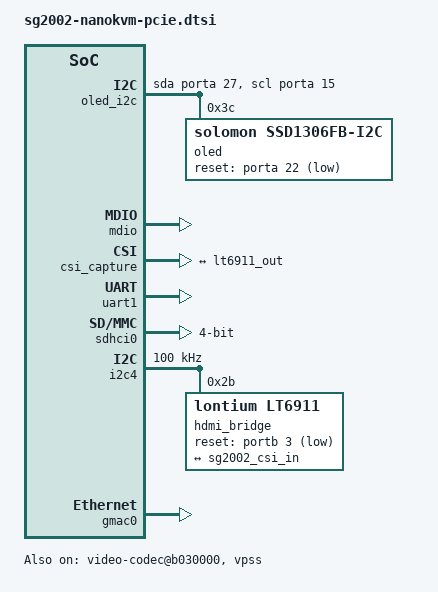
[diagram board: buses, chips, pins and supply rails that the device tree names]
/* NanoKVM-PCIe carrier overlay (mainline).
 *
 * The SG2002 has an on-die GMAC (snps,dwmac-3.70a) at 0x4070000 with an
 * internal 10/100 EPHY reached through the mmioreg mdio-mux. The
 * upstream cv180x.dtsi defines both but leaves them `status =
 * "disabled"` (the LicheeRV-Nano dev board has no ethernet). The
 * NanoKVM-PCIe carrier wires the GMAC to the RJ45, so enable them.
 *
 * Layered on top of sg2002-licheerv-nano-bw.dtsi, which already keeps
 * SDIO1 (AIC8800 WiFi) enabled — so this DTB carries both ethernet,
 * WiFi and the front-panel OLED for the PCIe board.
 */

/*
 * The standalone DTB builder uses an unpatched Linux source tarball. Keep
 * these fallbacks until its cv18xx-reset.h contains the named CSI PHY IDs.
 */
#ifndef RST_CSI_PHY0
#define RST_CSI_PHY0 70
#endif
#ifndef RST_CSI_PHY0_APB
#define RST_CSI_PHY0_APB 71
#endif

&mdio {
	status = "okay";
};

/*
 * The standalone DTB builder intentionally starts from the pristine Linux
 * source tarball, whereas the kernel applies the local SG2002 patch queue.
 * Keep the enabled bring-up instance here for the PCIe carrier; the matching
 * upstream-shaped SoC description in the kernel source remains disabled.
 */
/*
 * Deterministic DMA carveout for the 1080p capture+encode pipeline.
 * Measured simultaneous worst case (live-1080p CSI capture + Coda980
 * encode, two reconstruction buffers) is ~38 MiB:
 *   CSI:      2 x 4.15 MiB frames + 4.15 MiB scratch
 *   Coda980:  3.13 MiB NV21 staging, 3.2 MiB slice buffer,
 *             2 x 3.13 MiB reconstruction, bitstream + firmware arena
 * The pool is deliberately NOT `reusable`: a reusable region registers as
 * CMA, which the page allocator fills with movable pages — on this
 * 256 MiB board the 48 MiB default CMA is fully colonized minutes after
 * boot and 4 MiB coherent allocations then fail with EBUSY. `no-map`
 * keeps the pages out of the allocator entirely. CPU access still works:
 * the coherent-pool mapping is established with memremap(MEMREMAP_WC),
 * which the Coda driver needs for its staging and bitstream buffers.
 * Placement sits just below the default-CMA window previous configs
 * reserved at 0x89800000.
 */
/ {
	reserved-memory {
		#address-cells = <1>;
		#size-cells = <1>;
		ranges;

		video_pool: video-pool@86800000 {
			/* 32 MiB: 540p pipeline with the deeper pipelining queues is
			 * ~24.6 MiB simultaneous worst case (CSI 3x4.15 + 4.15
			 * scratch, coda internals + 4x0.78 out + 3x1M cap).
			 * 1080p needs ~38+ MiB and still waits on the initrd
			 * memory work. */
			compatible = "shared-dma-pool";
			no-map;
			reg = <0x86800000 0x2000000>; /* 32 MiB */
		};
	};
};

&{/soc} {
	video-codec@b030000 {
		compatible = "sophgo,sg2002-coda980";
		reg = <0x0b030000 0x100>, <0x0b010000 0x10000>;
		reg-names = "vc-ctrl", "h264";
		interrupts = <SOC_PERIPHERAL_IRQ(5) IRQ_TYPE_LEVEL_HIGH>;
		interrupt-names = "h264";
		clocks = <&clk CLK_AXI_VIDEO_CODEC>,
			 <&clk CLK_CFG_REG_VC>,
			 <&clk CLK_VC_SRC0>,
			 <&clk CLK_H264C>,
			 <&clk CLK_APB_H264C>;
		clock-names = "axi-video-codec", "cfg-reg-vc", "vc-src0",
			      "h264c", "apb-h264c";
		resets = <&rst RST_H264C>;
		firmware-name = "sophgo/sg2002/coda980.bin";
		memory-region = <&video_pool>;
		status = "okay";
	};
};

/* SD card slot on sdhci0 (mmc@4310000). Upstream cv180x.dtsi leaves it
 * disabled and the base bw.dtsi only wires sdhci1 (SDIO/WiFi), so Linux
 * never saw the card — blocking both booting from SD and writing it.
 * Pins/props cribbed from upstream sg2002-licheerv-nano-b.dts. */
&pinctrl {
	sdhci0_cfg: sdhci0-cfg {
		sdhci0-clk-pins {
			pinmux = <PINMUX(PIN_SD0_CLK, 0)>;
			/*
			 * The reset/default pad state already has the clock
			 * pull-down enabled. Requesting pull-up here leaves both
			 * pulls active because the cv18xx pinctrl driver only
			 * updates the named bias bit. Keep the clock pulled down
			 * like the vendor SDIO pad init does; CMD/DAT/CD stay
			 * pulled up below.
			 */
			/delete-property/ bias-pull-up;
			bias-pull-down;
			drive-strength-microamp = <16100>;
			power-source = <3300>;
		};
		sdhci0-cmd-pins {
			pinmux = <PINMUX(PIN_SD0_CMD, 0)>;
			bias-pull-up;
			drive-strength-microamp = <10800>;
			power-source = <3300>;
		};
		sdhci0-data-pins {
			pinmux = <PINMUX(PIN_SD0_D0, 0)>,
				 <PINMUX(PIN_SD0_D1, 0)>,
				 <PINMUX(PIN_SD0_D2, 0)>,
				 <PINMUX(PIN_SD0_D3, 0)>;
			bias-pull-up;
			drive-strength-microamp = <10800>;
			power-source = <3300>;
		};
		sdhci0-cd-pins {
			pinmux = <PINMUX(PIN_SD0_CD, 0)>;
			bias-pull-up;
			drive-strength-microamp = <10800>;
			power-source = <3300>;
		};
		sdhci0-pwr-en-pins {
			pinmux = <PINMUX(PIN_SD0_PWR_EN, 0)>;
			bias-pull-down;
			drive-strength-microamp = <10800>;
			power-source = <3300>;
		};
	};

	/* Front-panel OLED pads. Vendor firmware muxes these to GPIO via
	 * devmem (fmux 0x3c/0x58/0x50 = 3); the mainline cv18xx pinctrl
	 * driver has no gpio_request_enable hook, so the dwapb gpio
	 * controller can't mux them on request — an explicit group is
	 * required. Pad → GPIO mapping (fn 3, per pinctrl-sg2002.c):
	 *   SPK_EN    → XGPIOA[15] = I2C SCL
	 *   EMMC_DAT3 → XGPIOA[27] = I2C SDA
	 *   EMMC_CLK  → XGPIOA[22] = panel reset (active-low)
	 * All three sit in the VDDIO_SD0_EMMC domain like the SD0 pads
	 * above, hence the same 3300 mV power-source. */
	oled_i2c_cfg: oled-i2c-cfg {
		oled-i2c-pins {
			pinmux = <PINMUX(PIN_SPK_EN, 3)>,
				 <PINMUX(PIN_EMMC_DAT3, 3)>;
			/* Bit-banged open-drain I2C: the on-die pulls are
			 * weak but harmless alongside the carrier's
			 * external pull-ups. */
			bias-pull-up;
			drive-strength-microamp = <10800>;
			power-source = <3300>;
		};
		oled-reset-pins {
			pinmux = <PINMUX(PIN_EMMC_CLK, 3)>;
			/* Reset is active-low; pull up so the panel stays
			 * out of reset until ssd1307fb claims the line. */
			bias-pull-up;
			drive-strength-microamp = <10800>;
			power-source = <3300>;
		};
	};

	/* HDMI bridge control bus. The Lontium LT6911-family bridge is
	 * configured over the SoC's I2C4 controller. Use the PWR-domain
	 * I2C4 pad pair here; the alternate MIPIRX2 I2C4 mux would steal
	 * pins from the CSI lane bundle we need for actual capture. */
	i2c4_cfg: i2c4-cfg {
		i2c4-pins {
			pinmux = <PINMUX(PIN_PWR_WAKEUP0, 5)>,
				 <PINMUX(PIN_PWR_BUTTON1, 5)>;
			bias-pull-up;
			drive-strength-microamp = <37400>;
			power-source = <1800>;
		};
	};

	/* Vendor sysfs GPIO 451 is PWR GPIO 3, i.e. the PWR_SEQ1 pad
	 * muxed to GPIO mode. This line holds the LT6911 bridge out of
	 * reset. */
	hdmi_reset_cfg: hdmi-reset-cfg {
		hdmi-reset-pins {
			pinmux = <PINMUX(PIN_PWR_SEQ1, 3)>;
			bias-pull-up;
			drive-strength-microamp = <37400>;
			power-source = <1800>;
		};
	};

	/* The PCIe carrier's 6-pin UART header labels GPIOA19/A18 as
	 * UART1_TX/UART1_RX.  These are the alternate UART1 data pins; the
	 * upstream board DT only muxes UART0, and the vendor firmware leaves
	 * these two pads as UART1 RTS/CTS for the optional Bluetooth device. */
	uart1_pcie_cfg: uart1-pcie-cfg {
		uart1-pcie-pins {
			/* GPIOA19 = PIN_JTAG_CPU_TMS, GPIOA18 = PIN_JTAG_CPU_TCK. */
			pinmux = <PINMUX(PIN_JTAG_CPU_TMS, 6)>,
				 <PINMUX(PIN_JTAG_CPU_TCK, 6)>;
			bias-pull-up;
			drive-strength-microamp = <10800>;
			power-source = <3300>;
		};
	};
};

/* Keep ttyS0 as the existing system console; ttyS1 is an additional
 * diagnostic UART for the carrier header.  U-Boot/OpenSBI remain on
 * serial0 for now, so this deliberately does not add an earlycon. */
&uart1 {
	pinctrl-0 = <&uart1_pcie_cfg>;
	pinctrl-names = "default";
	status = "okay";
};

/* Front-panel SSD1306 128x64 OLED at 0x3c on a bit-banged I2C bus
 * (the panel isn't wired to any hardware I2C controller — vendor
 * firmware bit-bangs the same two GPIOs from userspace). The carrier
 * may ship with the footprint unpopulated; ssd1307fb is a module and a
 * probe failure on a missing panel is harmless.
 *
 * Panel init mapped from the vendor sequence to ssd1307fb defaults for
 * "solomon,ssd1306fb-i2c" (drivers/video/fbdev/ssd1307fb.c):
 *   0xA8/0x3F mux 1/64        → solomon,height = <64> (driver: height-1)
 *   0xDA/0x12 COM pins alt    → driver default (no com-seq/com-lrremap)
 *   0xA1 segment remap ON     → driver default (no segment-no-remap)
 *   0xC8 COM scan inverted    → solomon,com-invdir
 *   0xD9/0xF1 precharge       → solomon,prechargep1/2 = <1>/<15>
 *   0xD3/0x00 display offset  → driver default (com-offset 0)
 *   0x8D/0x14 charge pump ON  → automatic (ssd1306 need_chargepump)
 *   0x81/0xCF + 0xDB/0x40 (contrast/vcomh) have no DT properties; the
 *   driver's 127/0x20 are visibly fine and contrast is adjustable at
 *   runtime through the backlight class device.
 * page-offset must be 0 — the driver's legacy default is 1, which
 * would wrap the top 8 pixel rows off the panel. */
/ {
	ddr_top: syscon@800a000 {
		compatible = "sophgo,sg2002-ddr-top", "syscon";
		reg = <0x0800a000 0x1000>;
	};

	oled_i2c: i2c-oled {
		compatible = "i2c-gpio";
		pinctrl-0 = <&oled_i2c_cfg>;
		pinctrl-names = "default";
		scl-gpios = <&porta 15 (GPIO_ACTIVE_HIGH | GPIO_OPEN_DRAIN)>;
		sda-gpios = <&porta 27 (GPIO_ACTIVE_HIGH | GPIO_OPEN_DRAIN)>;
		/* Vendor userspace bit-bang timing; ~100 kHz equivalent. */
		i2c-gpio,delay-us = <5>;
		#address-cells = <1>;
		#size-cells = <0>;

		oled@3c {
			compatible = "solomon,ssd1306fb-i2c";
			reg = <0x3c>;
			reset-gpios = <&porta 22 GPIO_ACTIVE_LOW>;
			solomon,width = <128>;
			solomon,height = <64>;
			solomon,page-offset = <0>;
			solomon,col-offset = <0>;
			solomon,com-invdir;
			solomon,prechargep1 = <1>;
			solomon,prechargep2 = <15>;
		};
	};
};

/* DMA engines must inherit /soc's dma-noncoherent property. */
&{/soc} {
	/* The VIP scaler/CSC block ("VPSS") at 0x0a080000, driven as a
	 * mem2mem device (IMG_IN_V + SC_V1) by the sophgo,sg2002-vpss
	 * driver.  Vendor DTS numbers the shared interrupt PLIC source 25,
	 * i.e. SOC_PERIPHERAL_IRQ(9) after the 16 core-local IDs.
	 * Deliberately NOT bound to video_pool: rmem_dma_ops cannot map
	 * imported dma-bufs, and this node is import-only in the
	 * capture -> VPSS -> encoder zero-copy chain. */
	vpss: vpss@a080000 {
		compatible = "sophgo,sg2002-vpss";
		reg = <0x0a080000 0x10000>;
		interrupt-parent = <&plic>;
		interrupts = <SOC_PERIPHERAL_IRQ(9) IRQ_TYPE_LEVEL_HIGH>;
		clocks = <&clk CLK_SRC_VIP_SYS_0>,
			 <&clk CLK_SRC_VIP_SYS_1>,
			 <&clk CLK_SRC_VIP_SYS_2>,
			 <&clk CLK_IMG_V_VIP>,
			 <&clk CLK_SC_TOP_VIP>,
			 <&clk CLK_SC_V1_VIP>,
			 /* The register window hangs off the VIP fabric;
			  * csi_capture owns these and gates them at stream
			  * stop — without them a VPSS write stalls the bus. */
			 <&clk CLK_AXI_VIP>,
			 <&clk CLK_CFG_REG_VIP>;
		clock-names = "sys0", "sys1", "sys2", "img_v", "sc_top", "sc_v1",
			      "axi", "cfg_reg";
		status = "okay";
	};

	/* The factory NanoKVM route is CSI MAC0 -> CSIBDG0 -> DMA6.  Keep
	 * this single-purpose until the wider SG2002 media pipeline has a
	 * complete upstream binding and driver split. */
	csi_capture: video-capture@a0c2000 {
		compatible = "sophgo,sg2002-csi-capture";
		reg = <0x0a0c2000 0x2000>,
		      <0x0a0d0000 0x1000>,
		      <0x0a000000 0x80000>,
		      <0x0a0c8000 0x2000>;
		reg-names = "csi-mac0", "csi-wrap", "vi", "vip-sys";
		interrupt-parent = <&plic>;
		/* Vendor DTS numbers these PLIC sources directly as VI=24 and
		 * CSI0=26.  Mainline's SOC_PERIPHERAL_IRQ() accounts for the 16
		 * core-local interrupt IDs, so its peripheral indices are 8/10. */
		interrupts = <SOC_PERIPHERAL_IRQ(8) IRQ_TYPE_LEVEL_HIGH>,
			     <SOC_PERIPHERAL_IRQ(10) IRQ_TYPE_LEVEL_HIGH>;
		interrupt-names = "vi", "csi";
		clocks = <&clk CLK_SRC_VIP_SYS_0>,
			 <&clk CLK_SRC_VIP_SYS_1>,
			 <&clk CLK_SRC_VIP_SYS_2>,
			 <&clk CLK_SRC_VIP_SYS_3>,
			 <&clk CLK_AXI_VIP>,
			 <&clk CLK_CFG_REG_VIP>,
			 <&clk CLK_VIP_IP0>,
			 <&clk CLK_VIP_IP1>,
			 <&clk CLK_VIP_IP2>,
			 <&clk CLK_VIP_IP3>,
			 <&clk CLK_CSI_BE_VIP>,
			 <&clk CLK_RAW_VIP>,
			 <&clk CLK_ISP_TOP_VIP>,
			 <&clk CLK_CSI_MAC0_VIP>,
			 <&clk CLK_CSI0_RX_VIP>;
		clock-names = "vip-sys0", "vip-sys1", "vip-sys2", "vip-sys3",
			      "axi", "cfg-reg", "vip-ip0", "vip-ip1", "vip-ip2",
			      "vip-ip3", "csi-be", "raw", "isp-top",
			      "csi-mac0", "csi0-rx";
		resets = <&rst RST_CSI_PHY0>, <&rst RST_CSI_PHY0_APB>;
		reset-names = "csi-phy", "csi-phy-apb";
		sophgo,ddr-top = <&ddr_top>;
		memory-region = <&video_pool>;

		port {
			sg2002_csi_in: endpoint {
				remote-endpoint = <&lt6911_out>;
				bus-type = <4>; /* CSI-2 D-PHY */
				/* Physical carrier wiring recovered from the
				 * factory sensor_cfg.ini.LT. */
				clock-lanes = <2>;
				data-lanes = <4 3 1 0>;
			};
		};
	};
};

&sdhci0 {
	pinctrl-0 = <&sdhci0_cfg>;
	pinctrl-names = "default";
	status = "okay";
	resets = <&rst 16>;
	reset-names = "sdhci";
	bus-width = <4>;
	min-frequency = <400000>;
	max-frequency = <25000000>;
	/* Vendor SD init sets MSHC_CTRL bits 8/9 for latched output paths.
	 * Mainline only did this for SDIO1, but this carrier's SD0 slot
	 * answers with command CRC errors without the same vendor bits. */
	sophgo,mshc-ctrl-8-9;
	/* Match the vendor SD0 clock source: fpll(1500 MHz) / 4 = 375 MHz. */
	sophgo,sdio-clkgen-pll-reg = <0x03002070>;
	sophgo,sdio-clkgen-pll-div = <0x00040109>;
	sophgo,sdio-clkgen-bypass-reg = <0x03002030>;
	sophgo,sdio-clkgen-bypass-bit = <6>;
	/* Vendor sdhci-cv181x restores the SD power switch before probing SD0. */
	sophgo,sd-pwrsw-ctrl-reg = <0x030001f4>;
	no-1-8-v;
	no-mmc;
	no-sdio;
	disable-wp;
	/* The SD0_CD card-detect line is unreliable on this carrier (it
	 * intermittently reports "no card" after a power-cycle, so the
	 * kernel never probes an inserted card). Ignore CD and poll the
	 * slot directly. */
	broken-cd;
};

&i2c4 {
	pinctrl-0 = <&i2c4_cfg>;
	pinctrl-names = "default";
	clock-frequency = <100000>;
	status = "okay";

	hdmi_bridge: hdmi-bridge@2b {
		compatible = "lontium,lt6911", "lontium,lt6911uxe";
		/* Vendor code names the 8-bit write address 0x56; Linux DT
		 * uses the 7-bit I2C address. */
		reg = <0x2b>;
		pinctrl-0 = <&hdmi_reset_cfg>;
		pinctrl-names = "default";
		reset-gpios = <&portb 3 GPIO_ACTIVE_LOW>;

		port {
			lt6911_out: endpoint {
				remote-endpoint = <&sg2002_csi_in>;
				bus-type = <4>; /* CSI-2 D-PHY */
				clock-lanes = <2>;
				data-lanes = <4 3 1 0>;
			};
		};
	};
};

&gmac0 {
	/* Just enable the node; the phy-mode (rmii) and the internal-EPHY
	 * mdio-mux come from the upstream include chain. The earlier -EINVAL
	 * ("validation of rmii/internal ... failed") was NOT a phy-mode
	 * problem: the internal EPHY was still shut down, so MDIO read no
	 * abilities and the MAC/PHY speed-cap intersection came out empty.
	 * Our dwmac-sophgo patch 0013 powers the EPHY up in probe (it then
	 * answers MDIO with phy_id 0x00435649), after which the Generic PHY
	 * attaches and validates against the dwmac1000 10/100 caps. */
	status = "okay";
};
